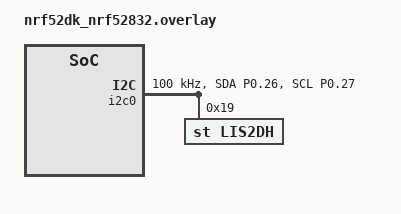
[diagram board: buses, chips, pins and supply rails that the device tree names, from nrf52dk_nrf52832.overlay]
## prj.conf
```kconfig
# ==========================================
# SYSTEM & MEMORY (Tuned for nRF52832)
# ==========================================
CONFIG_PM_DEVICE=y
CONFIG_DEBUG_OPTIMIZATIONS=y
CONFIG_COMPILER_OPT=""
CONFIG_MAIN_STACK_SIZE=2048
CONFIG_IDLE_STACK_SIZE=1024
CONFIG_ISR_STACK_SIZE=1024
CONFIG_HEAP_MEM_POOL_SIZE=2048

# ==========================================
# LOGGING & CONSOLE (UART)
# ==========================================
CONFIG_SERIAL=y
CONFIG_CONSOLE=y
CONFIG_UART_CONSOLE=y
CONFIG_STDOUT_CONSOLE=y
CONFIG_PRINTK=y
CONFIG_LOG=y
CONFIG_LOG_BUFFER_SIZE=2048
CONFIG_CBPRINTF_FP_SUPPORT=y

# ==========================================
# HARDWARE SUBSYSTEMS & DRIVERS
# ==========================================
CONFIG_GPIO=y
CONFIG_I2C=y
CONFIG_SENSOR=y
CONFIG_LIS2DH=y
CONFIG_ADC=y

# ==========================================
# BLUETOOTH CORE & GATT
# ==========================================
CONFIG_BT=y
CONFIG_BT_PERIPHERAL=y
CONFIG_BT_DEVICE_NAME="Activity_D1"
CONFIG_BT_MAX_CONN=1
CONFIG_BT_GATT_CLIENT=n
CONFIG_BT_L2CAP_TX_MTU=65

# ==========================================
# BLUETOOTH SECURITY & BONDING
# ==========================================
CONFIG_BT_SMP=y
CONFIG_BT_BONDABLE=y
CONFIG_BT_SETTINGS=y

# ==========================================
# FLASH & SETTINGS (for bond persistence)
# ==========================================
CONFIG_SETTINGS=y
CONFIG_NVS=y
CONFIG_FLASH=y
CONFIG_FLASH_PAGE_LAYOUT=y
CONFIG_FLASH_MAP=y
CONFIG_MPU_ALLOW_FLASH_WRITE=y
```

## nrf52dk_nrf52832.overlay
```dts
&pinctrl {
    i2c0_default: i2c0_default {
        group1 {
            psels = <NRF_PSEL(TWIM_SDA, 0, 26)>, 
                    <NRF_PSEL(TWIM_SCL, 0, 27)>;
        };
    };
    i2c0_sleep: i2c0_sleep {
        group1 {
            psels = <NRF_PSEL(TWIM_SDA, 0, 26)>,
                    <NRF_PSEL(TWIM_SCL, 0, 27)>;
            low-power-enable;
        };
    };
};

&i2c0 {
    compatible = "nordic,nrf-twim";
    status = "okay";
    clock-frequency = <I2C_BITRATE_STANDARD>;
    pinctrl-0 = <&i2c0_default>;
    pinctrl-1 = <&i2c0_sleep>;
    pinctrl-names = "default", "sleep";
    
    lis2dh@19 {
        compatible = "st,lis2dh";
        reg = <0x19>;
        label = "LIS2DH";
    };
};

// / {
//     leds {
//         compatible = "gpio-leds";
//         led0: led_0 {
//             gpios = <&gpio0 2 GPIO_ACTIVE_LOW>;
//             label = "Green LED 0";
//         };
//         led1: led_1 {
//             gpios = <&gpio0 3 GPIO_ACTIVE_LOW>;
//             label = "Green LED 1";
//         };
//         led2: led_2 {
//             gpios = <&gpio0 4 GPIO_ACTIVE_LOW>;
//             label = "Green LED 2";
//         };
//         led3: led_3 {
//             gpios = <&gpio0 28 GPIO_ACTIVE_LOW>;
//             label = "Green LED 3";
//         };
//     };

// };
// &pinctrl {
//     uart0_default: uart0_default {
//         group1 {
//             psels = <NRF_PSEL(UART_TX, 0, 24)>,
//                     <NRF_PSEL(UART_RX, 0, 23)>,
//                     <NRF_PSEL(UART_RTS, 0, 5)>,
//                     <NRF_PSEL(UART_CTS, 0, 7)>;
//         };
//     };

//     uart0_sleep: uart0_sleep {
//         group1 {
//             psels = <NRF_PSEL(UART_TX, 0, 24)>,
//                     <NRF_PSEL(UART_RX, 0, 23)>,
//                     <NRF_PSEL(UART_RTS, 0, 5)>,
//                     <NRF_PSEL(UART_CTS, 0, 7)>;
//             low-power-enable;
//         };
//     };
//     i2c0_default: i2c0_default {
//         group1 {
//             psels = <NRF_PSEL(TWIM_SDA, 0, 26)>,
//                     <NRF_PSEL(TWIM_SCL, 0, 25)>;
//         };
//     };

//     i2c0_sleep: i2c0_sleep {
//         group1 {
//             psels = <NRF_PSEL(TWIM_SDA, 0, 26)>,
//                     <NRF_PSEL(TWIM_SCL, 0, 25)>;
//             low-power-enable;
//         };
//     };
// };
```

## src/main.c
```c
#include <stdio.h>
#include <string.h>
#include <zephyr/kernel.h>
#include <zephyr/bluetooth/bluetooth.h>
#include <zephyr/bluetooth/uuid.h>
#include <zephyr/bluetooth/gatt.h>
#include <zephyr/bluetooth/conn.h>
#include <zephyr/drivers/gpio.h>
#include <zephyr/device.h>
#include <zephyr/pm/pm.h>
#include <hal/nrf_gpio.h>
#include <zephyr/drivers/sensor.h>
#include <zephyr/settings/settings.h>

#define DEVICE_NAME CONFIG_BT_DEVICE_NAME
#define DEVICE_NAME_LEN (sizeof(DEVICE_NAME) - 1)

const struct device *sensor = DEVICE_DT_GET_ANY(st_lis2dh);

#define CUSTOM_MAC_ADDR "DE:AD:BE:AF:BA:11"

static int custom_id = BT_ID_DEFAULT;
struct bt_conn *current_conn = NULL;

// --- 1. GATT PAYLOAD & UUID DEFINITIONS ---
static uint8_t accel_payload[32] = {0};

#define BT_UUID_CUSTOM_SERVICE_VAL \
    BT_UUID_128_ENCODE(0x12345678, 0x1234, 0x5678, 0x1234, 0x56789abcdef0)
#define BT_UUID_CUSTOM_CHAR_VAL \
    BT_UUID_128_ENCODE(0x12345678, 0x1234, 0x5678, 0x1234, 0x56789abcdef1)

// --- 2. GATT SERVICE DEFINITION ---
static void accel_ccc_cfg_changed(const struct bt_gatt_attr *attr, uint16_t value)
{
    bool notif_enabled = (value == BT_GATT_CCC_NOTIFY);
    printk("Notifications %s\n", notif_enabled ? "enabled" : "disabled");
}

BT_GATT_SERVICE_DEFINE(accel_svc,
    BT_GATT_PRIMARY_SERVICE(BT_UUID_DECLARE_128(BT_UUID_CUSTOM_SERVICE_VAL)),
    BT_GATT_CHARACTERISTIC(BT_UUID_DECLARE_128(BT_UUID_CUSTOM_CHAR_VAL),
                           BT_GATT_CHRC_READ | BT_GATT_CHRC_NOTIFY,
                           BT_GATT_PERM_READ_AUTHEN,
                           NULL, NULL, accel_payload),
    BT_GATT_CCC(accel_ccc_cfg_changed,
                BT_GATT_PERM_READ_AUTHEN | BT_GATT_PERM_WRITE_AUTHEN)
);

// --- 3. BOND CHECK (Pure C, no lambdas) ---
typedef struct {
    const bt_addr_le_t *target_addr;
    bool found;
} bond_check_t;

static void bond_check_cb(const struct bt_bond_info *info, void *user_data)
{
    bond_check_t *check = (bond_check_t *)user_data;
    if (bt_addr_le_eq(&info->addr, check->target_addr)) {
        check->found = true;
    }
}

static bool device_is_bonded(const bt_addr_le_t *addr)
{
    bond_check_t check = {
        .target_addr = addr,
        .found       = false,
    };
    bt_foreach_bond(custom_id, bond_check_cb, &check);
    return check.found;
}

// --- 4. CONNECTION & SECURITY MANAGEMENT ---
static void connected(struct bt_conn *conn, uint8_t err)
{
    if (err) {
        printk("Connection failed (err %u)\n", err);
        return;
    }

    current_conn = bt_conn_ref(conn);
    const bt_addr_le_t *peer_addr = bt_conn_get_dst(conn);

    if (device_is_bonded(peer_addr)) {
        printk("Known bonded device reconnected. No passkey needed.\n");
    } else {
        printk("New device. Starting secure pairing...\n");
    }

    bt_conn_set_security(conn, BT_SECURITY_L3);
}

static void disconnected(struct bt_conn *conn, uint8_t reason)
{
    printk("Client Disconnected (reason %u)\n", reason);
    if (current_conn) {
        bt_conn_unref(current_conn);
        current_conn = NULL;
    }
}

BT_CONN_CB_DEFINE(conn_callbacks) = {
    .connected    = connected,
    .disconnected = disconnected,
};

// --- 5. AUTH CALLBACKS ---
static void auth_passkey_display(struct bt_conn *conn, unsigned int passkey)
{
    char addr[BT_ADDR_LE_STR_LEN];
    bt_addr_le_to_str(bt_conn_get_dst(conn), addr, sizeof(addr));
    printk("\n========================================\n");
    printk(">>> PASSKEY FOR %s: %06u <<<\n", addr, passkey);
    printk("========================================\n");
}

static void auth_cancel(struct bt_conn *conn)
{
    printk("Pairing cancelled.\n");
}

static void pairing_complete(struct bt_conn *conn, bool bonded)
{
    char addr[BT_ADDR_LE_STR_LEN];
    bt_addr_le_to_str(bt_conn_get_dst(conn), addr, sizeof(addr));
    printk("Pairing complete with %s. Bonded: %s\n", addr, bonded ? "YES" : "NO");
}

static void pairing_failed(struct bt_conn *conn, enum bt_security_err reason)
{
    char addr[BT_ADDR_LE_STR_LEN];
    bt_addr_le_to_str(bt_conn_get_dst(conn), addr, sizeof(addr));
    printk("Pairing FAILED with %s (reason %d)\n", addr, reason);
}

static struct bt_conn_auth_cb auth_cb_display = {
    .passkey_display = auth_passkey_display,
    .passkey_entry   = NULL,
    .cancel          = auth_cancel,
};

static struct bt_conn_auth_info_cb auth_info_cb = {
    .pairing_complete = pairing_complete,
    .pairing_failed   = pairing_failed,
};

// --- 6. ADVERTISING DATA ---
static const struct bt_data ad[] = {
    BT_DATA_BYTES(BT_DATA_FLAGS, (BT_LE_AD_GENERAL | BT_LE_AD_NO_BREDR)),
    BT_DATA(BT_DATA_NAME_COMPLETE, DEVICE_NAME, DEVICE_NAME_LEN),
};

// --- 7. ADDRESS INITIALIZATION ---
static void set_custom_mac_address(void)
{
    bt_addr_le_t addr;
    int err;

    err = bt_addr_le_from_str(CUSTOM_MAC_ADDR, "random", &addr);
    if (err) {
        printk("Invalid BT address (err %d)\n", err);
        return;
    }

    int id = bt_id_create(&addr, NULL);
    if (id < 0) {
        printk("Creating new ID failed (err %d)\n", id);
        return;
    }

    custom_id = id;
    printk("Custom MAC set: %s (id=%d)\n", CUSTOM_MAC_ADDR, custom_id);
}

// --- 8. SENSOR FETCH LOGIC ---
void fetch_acc_data(void)
{
    struct sensor_value accel[3];
    int err;

    nrf_gpio_cfg_output(DT_GPIO_PIN(DT_NODELABEL(led0), gpios));
    nrf_gpio_cfg_output(DT_GPIO_PIN(DT_NODELABEL(led1), gpios));
    nrf_gpio_cfg_output(DT_GPIO_PIN(DT_NODELABEL(led2), gpios));

    err = sensor_sample_fetch(sensor);
    if (err == 0) {
        sensor_channel_get(sensor, SENSOR_CHAN_ACCEL_XYZ, accel);
    } else {
        printk("ERROR: Accelerometer update failed: %d\n", err);
        return;
    }

    int8_t x_b = accel[0].val1;
    int8_t x_a = accel[0].val2 / 10000;
    int8_t y_b = accel[1].val1;
    int8_t y_a = accel[1].val2 / 10000;
    int8_t z_b = accel[2].val1;
    int8_t z_a = accel[2].val2 / 10000;

    if (x_b == 0 && y_b == 0 && (z_b >= 9 || z_b <= -9)) {
        nrf_gpio_pin_clear(DT_GPIO_PIN(DT_NODELABEL(led2), gpios));
        nrf_gpio_pin_set(DT_GPIO_PIN(DT_NODELABEL(led0), gpios));
        nrf_gpio_pin_set(DT_GPIO_PIN(DT_NODELABEL(led1), gpios));
    } else if (y_b == 0 && z_b == 0 && (x_b >= 9 || x_b <= -9)) {
        nrf_gpio_pin_clear(DT_GPIO_PIN(DT_NODELABEL(led0), gpios));
        nrf_gpio_pin_set(DT_GPIO_PIN(DT_NODELABEL(led1), gpios));
        nrf_gpio_pin_set(DT_GPIO_PIN(DT_NODELABEL(led2), gpios));
    } else if (x_b == 0 && z_b == 0 && (y_b >= 9 || y_b <= -9)) {
        nrf_gpio_pin_clear(DT_GPIO_PIN(DT_NODELABEL(led1), gpios));
        nrf_gpio_pin_set(DT_GPIO_PIN(DT_NODELABEL(led2), gpios));
        nrf_gpio_pin_set(DT_GPIO_PIN(DT_NODELABEL(led0), gpios));
    } else {
        nrf_gpio_pin_set(DT_GPIO_PIN(DT_NODELABEL(led0), gpios));
        nrf_gpio_pin_set(DT_GPIO_PIN(DT_NODELABEL(led1), gpios));
        nrf_gpio_pin_set(DT_GPIO_PIN(DT_NODELABEL(led2), gpios));
    }

    snprintf(accel_payload, sizeof(accel_payload),
             "X:%d.%d Y:%d.%d Z:%d.%d",
             x_b, x_a, y_b, y_a, z_b, z_a);

    if (current_conn) {
        bt_gatt_notify(current_conn, &accel_svc.attrs[1],
                       accel_payload, strlen(accel_payload));
    }
}

// --- 9. MAIN ---
int main(void)
{
    int err;

    printk("Starting LIS2DH Secure GATT Node\n");

    if (!device_is_ready(sensor)) {
        printk("Sensor not ready\n");
        return -1;
    }

    err = bt_enable(NULL);
    if (err) {
        printk("Bluetooth init failed (err %d)\n", err);
        return -1;
    }

    printk("Bluetooth initialized\n");

    settings_load();
    printk("Settings loaded (bonds restored)\n");

    bt_conn_auth_cb_register(&auth_cb_display);
    bt_conn_auth_info_cb_register(&auth_info_cb);

    set_custom_mac_address();

    struct bt_le_adv_param my_adv_param = {
        .id                 = custom_id,
        .sid                = 0,
        .secondary_max_skip = 0,
        .options            = BT_LE_ADV_OPT_CONN,
        .interval_min       = BT_GAP_ADV_FAST_INT_MIN_2,
        .interval_max       = BT_GAP_ADV_FAST_INT_MAX_2,
        .peer               = NULL,
    };

    err = bt_le_adv_start(&my_adv_param, ad, ARRAY_SIZE(ad), NULL, 0);
    if (err) {
        printk("Advertising start failed (err %d)\n", err);
        return -1;
    }

    printk("Advertising started\n");

    while (1) {
        fetch_acc_data();
        k_msleep(100);
    }

    return 0;
}
```
